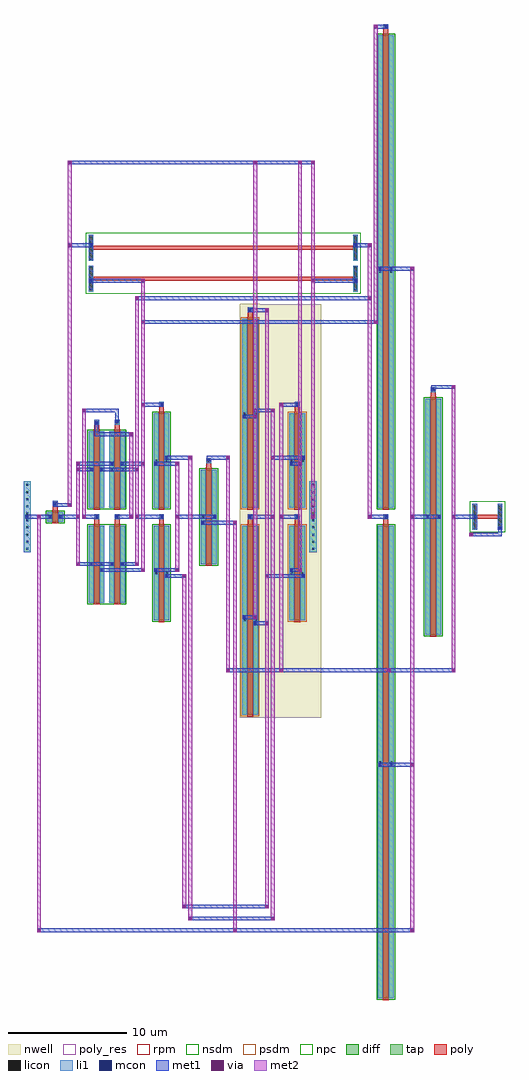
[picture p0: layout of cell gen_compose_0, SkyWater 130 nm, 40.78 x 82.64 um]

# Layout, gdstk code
import gdstk
lib = gdstk.Library(unit=1e-6, precision=1e-09)
def R(c, l, rs):  # rectangles x0, y0, x1, y1
    for r in rs: c.add(gdstk.rectangle(r[:2], r[2:], *l))
def A(c, l, x, y, w, h, nx, ny, dx, dy):  # array of equal rectangles
    R(c, l, [(x+i*dx, y+j*dy, x+i*dx+w, y+j*dy+h) for i in range(nx) for j in range(ny)])
nwell = (64, 20)
diff = (65, 20)
tap = (65, 44)
poly_res = (66, 13)
poly = (66, 20)
licon = (66, 44)
li1 = (67, 20)
mcon = (67, 44)
met1 = (68, 20)
via = (68, 44)
met2 = (69, 20)
rpm = (86, 20)
nsdm = (93, 44)
psdm = (94, 20)
npc = (95, 20)

mos_array = lib.new_cell('mos_array')
R(mos_array, diff, [(0,0,1.34,0.8)])
R(mos_array, poly, [(0.42,-0.15,0.92,0.8), (0.42,0.8,0.92,0.95), (0.42,0.8,0.92,0.95), (0.46,0.95,0.88,1.77)])
R(mos_array, licon, [(0.125,0.315,0.295,0.485), (1.045,0.315,1.215,0.485), (0.585,1.475,0.755,1.645)])
R(mos_array, li1, [(0,0,0.42,0.8), (0.92,0,1.34,0.8), (0.46,1.35,0.88,1.77)])
R(mos_array, nsdm, [(-0.125,-0.125,1.465,0.925)])
R(mos_array, npc, [(0.49,1.38,0.85,1.74)])

ptail__ptail = lib.new_cell('ptail__PTAIL')
ptail__ptail.add(gdstk.Reference(mos_array, (0,0)))

diff_pair = lib.new_cell('diff_pair')
R(diff_pair, diff, [(0,0,1.34,6.5), (1.74,0,3.08,6.5), (0,8.02,1.34,14.52), (1.74,8.02,3.08,14.52)])
R(diff_pair, poly, [(0.42,-0.15,0.92,6.5), (2.16,-0.15,2.66,6.5), (0.42,6.5,0.92,6.65), (0.42,6.5,0.92,6.65), (2.16,6.5,2.66,6.65), (2.16,6.5,2.66,6.65), (0.46,6.65,0.88,7.47), (2.2,6.65,2.62,7.47), (0.42,7.87,0.92,14.52), (2.16,7.87,2.66,14.52), (0.42,14.52,0.92,14.67), (0.42,14.52,0.92,14.67), (2.16,14.52,2.66,14.67), (2.16,14.52,2.66,14.67), (0.46,14.67,0.88,15.49), (2.2,14.67,2.62,15.49)])
R(diff_pair, licon, [(0.125,3.165,0.295,3.335), (1.045,3.165,1.215,3.335), (1.865,3.165,2.035,3.335), (2.785,3.165,2.955,3.335), (0.585,7.175,0.755,7.345), (2.325,7.175,2.495,7.345), (0.125,11.185,0.295,11.355), (1.045,11.185,1.215,11.355), (1.865,11.185,2.035,11.355), (2.785,11.185,2.955,11.355), (0.585,15.195,0.755,15.365), (2.325,15.195,2.495,15.365)])
R(diff_pair, li1, [(0,0,0.42,6.5), (0.92,0,1.34,6.5), (1.74,0,2.16,6.5), (2.66,0,3.08,6.5), (0.46,7.05,0.88,7.47), (2.2,7.05,2.62,7.47), (0,8.02,0.42,14.52), (0.92,8.02,1.34,14.52), (1.74,8.02,2.16,14.52), (2.66,8.02,3.08,14.52), (0.46,15.07,0.88,15.49), (2.2,15.07,2.62,15.49)])
R(diff_pair, nsdm, [(-0.125,-0.125,3.205,6.625), (-0.125,7.895,3.205,14.645)])
R(diff_pair, npc, [(0.49,7.08,0.85,7.44), (2.23,7.08,2.59,7.44), (0.49,15.1,0.85,15.46), (2.23,15.1,2.59,15.46)])

inpair__inpair = lib.new_cell('inpair__INPAIR')
inpair__inpair.add(gdstk.Reference(diff_pair, (0,0)))

res_array = lib.new_cell('res_array')
R(res_array, poly_res, [(0.39,0,22.39,0.35), (0.39,2.6,22.39,2.95)])
R(res_array, poly, [(0,-0.925,0.39,1.275), (22.39,-0.925,22.78,1.275), (0,0,22.78,0.35), (0,1.675,0.39,3.875), (22.39,1.675,22.78,3.875), (0,2.6,22.78,2.95)])
R(res_array, licon, [(0.1,-0.825,0.29,1.175), (22.49,-0.825,22.68,1.175), (0.1,1.775,0.29,3.775), (22.49,1.775,22.68,3.775)])
R(res_array, li1, [(0,-0.925,0.39,1.275), (22.39,-0.925,22.78,1.275), (0,1.675,0.39,3.875), (22.39,1.675,22.78,3.875)])
R(res_array, rpm, [(-0.25,-1.125,23.03,1.475), (-0.25,1.475,23.03,4.075)])
R(res_array, psdm, [(-0.25,-1.125,23.03,1.475), (-0.25,1.475,23.03,4.075)])
R(res_array, npc, [(-0.25,-1.125,23.03,1.475), (-0.25,1.475,23.03,4.075)])

rload__rload = lib.new_cell('rload__RLOAD')
rload__rload.add(gdstk.Reference(res_array, (0,0)))

diff_pair_1 = lib.new_cell('diff_pair$1')
R(diff_pair_1, diff, [(0,0,1.34,8), (0,9.52,1.34,17.52)])
R(diff_pair_1, poly, [(0.42,-0.15,0.92,8), (0.42,8,0.92,8.15), (0.42,8,0.92,8.15), (0.46,8.15,0.88,8.97), (0.42,9.37,0.92,17.52), (0.42,17.52,0.92,17.67), (0.42,17.52,0.92,17.67), (0.46,17.67,0.88,18.49)])
R(diff_pair_1, licon, [(0.125,3.915,0.295,4.085), (1.045,3.915,1.215,4.085), (0.585,8.675,0.755,8.845), (0.125,13.435,0.295,13.605), (1.045,13.435,1.215,13.605), (0.585,18.195,0.755,18.365)])
R(diff_pair_1, li1, [(0,0,0.42,8), (0.92,0,1.34,8), (0.46,8.55,0.88,8.97), (0,9.52,0.42,17.52), (0.92,9.52,1.34,17.52), (0.46,18.07,0.88,18.49)])
R(diff_pair_1, nsdm, [(-0.125,-0.125,1.465,8.125), (-0.125,9.395,1.465,17.645)])
R(diff_pair_1, npc, [(0.49,8.58,0.85,8.94), (0.49,18.1,0.85,18.46)])

stn__stn = lib.new_cell('stn__STN')
stn__stn.add(gdstk.Reference(diff_pair_1, (0,0)))

mos_array_1 = lib.new_cell('mos_array$1')
R(mos_array_1, diff, [(0,0,1.34,8)])
R(mos_array_1, poly, [(0.42,-0.15,0.92,8), (0.42,8,0.92,8.15), (0.42,8,0.92,8.15), (0.46,8.15,0.88,8.97)])
R(mos_array_1, licon, [(0.125,3.915,0.295,4.085), (1.045,3.915,1.215,4.085), (0.585,8.675,0.755,8.845)])
R(mos_array_1, li1, [(0,0,0.42,8), (0.92,0,1.34,8), (0.46,8.55,0.88,8.97)])
R(mos_array_1, nsdm, [(-0.125,-0.125,1.465,8.125)])
R(mos_array_1, npc, [(0.49,8.58,0.85,8.94)])

tail2__tail2 = lib.new_cell('tail2__TAIL2')
tail2__tail2.add(gdstk.Reference(mos_array_1, (0,0)))

diff_pair_2 = lib.new_cell('diff_pair$2')
R(diff_pair_2, nwell, [(-0.15,-0.15,1.49,34.79)])
R(diff_pair_2, diff, [(0,0,1.34,16), (0,17.52,1.34,33.52)])
R(diff_pair_2, poly, [(0.42,-0.15,0.92,16), (0.42,16,0.92,16.15), (0.42,16,0.92,16.15), (0.46,16.15,0.88,16.97), (0.42,17.37,0.92,33.52), (0.42,33.52,0.92,33.67), (0.42,33.52,0.92,33.67), (0.46,33.67,0.88,34.49)])
R(diff_pair_2, licon, [(0.125,7.915,0.295,8.085), (1.045,7.915,1.215,8.085), (0.585,16.675,0.755,16.845), (0.125,25.435,0.295,25.605), (1.045,25.435,1.215,25.605), (0.585,34.195,0.755,34.365)])
R(diff_pair_2, li1, [(0,0,0.42,16), (0.92,0,1.34,16), (0.46,16.55,0.88,16.97), (0,17.52,0.42,33.52), (0.92,17.52,1.34,33.52), (0.46,34.07,0.88,34.49)])
R(diff_pair_2, psdm, [(-0.125,-0.125,1.465,16.125), (-0.125,17.395,1.465,33.645)])
R(diff_pair_2, npc, [(0.49,16.58,0.85,16.94), (0.49,34.1,0.85,34.46)])

latp__latp = lib.new_cell('latp__LATP')
latp__latp.add(gdstk.Reference(diff_pair_2, (0,0)))

diff_pair_3 = lib.new_cell('diff_pair$3')
R(diff_pair_3, nwell, [(-0.15,-0.15,1.49,18.79)])
R(diff_pair_3, diff, [(0,0,1.34,8), (0,9.52,1.34,17.52)])
R(diff_pair_3, poly, [(0.42,-0.15,0.92,8), (0.42,8,0.92,8.15), (0.42,8,0.92,8.15), (0.46,8.15,0.88,8.97), (0.42,9.37,0.92,17.52), (0.42,17.52,0.92,17.67), (0.42,17.52,0.92,17.67), (0.46,17.67,0.88,18.49)])
R(diff_pair_3, licon, [(0.125,3.915,0.295,4.085), (1.045,3.915,1.215,4.085), (0.585,8.675,0.755,8.845), (0.125,13.435,0.295,13.605), (1.045,13.435,1.215,13.605), (0.585,18.195,0.755,18.365)])
R(diff_pair_3, li1, [(0,0,0.42,8), (0.92,0,1.34,8), (0.46,8.55,0.88,8.97), (0,9.52,0.42,17.52), (0.92,9.52,1.34,17.52), (0.46,18.07,0.88,18.49)])
R(diff_pair_3, psdm, [(-0.125,-0.125,1.465,8.125), (-0.125,9.395,1.465,17.645)])
R(diff_pair_3, npc, [(0.49,8.58,0.85,8.94), (0.49,18.1,0.85,18.46)])

rst__rst = lib.new_cell('rst__RST')
rst__rst.add(gdstk.Reference(diff_pair_3, (0,0)))

diff_pair_4 = lib.new_cell('diff_pair$4')
R(diff_pair_4, diff, [(0,0,1.34,40), (0,41.52,1.34,81.52)])
R(diff_pair_4, poly, [(0.42,-0.15,0.92,40), (0.42,40,0.92,40.15), (0.42,40,0.92,40.15), (0.46,40.15,0.88,40.97), (0.42,41.37,0.92,81.52), (0.42,81.52,0.92,81.67), (0.42,81.52,0.92,81.67), (0.46,81.67,0.88,82.49)])
R(diff_pair_4, licon, [(0.125,19.915,0.295,20.085), (1.045,19.915,1.215,20.085), (0.585,40.675,0.755,40.845), (0.125,61.435,0.295,61.605), (1.045,61.435,1.215,61.605), (0.585,82.195,0.755,82.365)])
R(diff_pair_4, li1, [(0,0,0.42,40), (0.92,0,1.34,40), (0.46,40.55,0.88,40.97), (0,41.52,0.42,81.52), (0.92,41.52,1.34,81.52), (0.46,82.07,0.88,82.49)])
R(diff_pair_4, nsdm, [(-0.125,-0.125,1.465,40.125), (-0.125,41.395,1.465,81.645)])
R(diff_pair_4, npc, [(0.49,40.58,0.85,40.94), (0.49,82.1,0.85,82.46)])

absorb__absorb = lib.new_cell('absorb__ABSORB')
absorb__absorb.add(gdstk.Reference(diff_pair_4, (0,0)))

mos_array_2 = lib.new_cell('mos_array$2')
R(mos_array_2, diff, [(0,0,1.34,20)])
R(mos_array_2, poly, [(0.42,-0.15,0.92,20), (0.42,20,0.92,20.15), (0.42,20,0.92,20.15), (0.46,20.15,0.88,20.97)])
R(mos_array_2, licon, [(0.125,9.915,0.295,10.085), (1.045,9.915,1.215,10.085), (0.585,20.675,0.755,20.845)])
R(mos_array_2, li1, [(0,0,0.42,20), (0.92,0,1.34,20), (0.46,20.55,0.88,20.97)])
R(mos_array_2, nsdm, [(-0.125,-0.125,1.465,20.125)])
R(mos_array_2, npc, [(0.49,20.58,0.85,20.94)])

clkcap__clkcap = lib.new_cell('clkcap__CLKCAP')
clkcap__clkcap.add(gdstk.Reference(mos_array_2, (0,0)))

res_array_1 = lib.new_cell('res_array$1')
R(res_array_1, poly_res, [(0.39,0,2.14,0.35)])
R(res_array_1, poly, [(0,-0.925,0.39,1.275), (2.14,-0.925,2.53,1.275), (0,0,2.53,0.35)])
R(res_array_1, licon, [(0.1,-0.825,0.29,1.175), (2.24,-0.825,2.43,1.175)])
R(res_array_1, li1, [(0,-0.925,0.39,1.275), (2.14,-0.925,2.53,1.275)])
R(res_array_1, rpm, [(-0.25,-1.125,2.78,1.475)])
R(res_array_1, psdm, [(-0.25,-1.125,2.78,1.475)])
R(res_array_1, npc, [(-0.25,-1.125,2.78,1.475)])

rclks__rclks = lib.new_cell('rclks__RCLKS')
rclks__rclks.add(gdstk.Reference(res_array_1, (0,0)))

route__route = lib.new_cell('route__ROUTE')
R(route__route, nwell, [(18.3,28,25.2,63)])
R(route__route, tap, [(0,42,0.6,48), (24.2,42,24.8,48)])
A(route__route, licon, 0.215, 42.215, 0.17, 0.17, 1, 10, 0, 0.6)
A(route__route, licon, 24.415, 42.215, 0.17, 0.17, 1, 10, 0, 0.6)
R(route__route, li1, [(0,42,0.6,48), (24.2,42,24.8,48)])
R(route__route, mcon, [(30.125,23.915,30.295,24.085), (31.045,23.915,31.215,24.085), (19.545,35.915,19.715,36.085), (18.625,36.415,18.795,36.585), (12.045,39.915,12.215,40.085), (23.545,39.915,23.715,40.085), (6.545,40.415,6.715,40.585), (11.125,40.415,11.295,40.585), (22.625,40.415,22.795,40.585), (5.625,40.915,5.795,41.085), (7.365,40.915,7.535,41.085), (8.285,40.915,8.455,41.085), (40.25,43.935,40.42,44.105), (15.125,44.415,15.295,44.585), (0.215,44.915,0.385,45.085), (2.125,44.915,2.295,45.085), (3.045,44.915,3.215,45.085), (6.085,44.915,6.255,45.085), (7.825,44.915,7.995,45.085), (11.585,44.915,11.755,45.085), (16.045,44.915,16.215,45.085), (19.085,44.915,19.255,45.085), (23.085,44.915,23.255,45.085), (24.415,44.915,24.585,45.085), (30.585,44.915,30.755,45.085), (34.125,44.915,34.295,45.085), (35.045,44.915,35.215,45.085), (38.11,44.915,38.28,45.085), (2.585,45.985,2.755,46.155), (5.625,48.915,5.795,49.085), (6.545,48.915,6.715,49.085), (7.365,49.415,7.535,49.585), (8.285,49.415,8.455,49.585), (11.125,49.415,11.295,49.585), (22.625,49.415,22.795,49.585), (15.585,49.765,15.755,49.935), (12.045,49.915,12.215,50.085), (23.545,49.915,23.715,50.085), (6.085,52.845,6.255,53.015), (7.825,53.025,7.995,53.195), (18.625,53.415,18.795,53.585), (19.545,53.915,19.715,54.085), (11.585,54.415,11.755,54.585), (23.085,54.415,23.255,54.585), (34.585,55.765,34.755,55.935), (19.085,62.415,19.255,62.585), (5.61,64.915,5.78,65.085), (28,64.915,28.17,65.085), (30.125,65.915,30.295,66.085), (31.045,65.915,31.215,66.085), (5.61,67.915,5.78,68.085), (28,67.915,28.17,68.085), (30.585,86.415,30.755,86.585)])
R(route__route, met1, [(1.14,9.84,18.06,10.16), (17.74,9.84,33.06,10.16), (13.94,10.84,21.26,11.16), (13.44,11.84,20.76,12.16), (30.05,23.84,30.37,24.16), (30.05,23.84,33.06,24.16), (30.97,23.84,31.29,24.16), (30.97,23.84,33.06,24.16), (17.14,31.84,21.96,32.16), (21.64,31.84,31.06,32.16), (30.74,31.84,36.56,32.16), (19.47,35.84,20.76,36.16), (19.47,35.84,19.79,36.16), (18.55,36.34,18.87,36.66), (18.55,36.34,19.76,36.66), (11.97,39.84,13.76,40.16), (11.97,39.84,12.29,40.16), (20.44,39.84,23.79,40.16), (23.47,39.84,23.79,40.16), (6.47,40.34,6.79,40.66), (6.47,40.34,10.26,40.66), (11.05,40.34,11.37,40.66), (11.05,40.34,13.16,40.66), (22.55,40.34,22.87,40.66), (22.55,40.34,23.56,40.66), (4.44,40.84,5.87,41.16), (4.44,40.84,7.61,41.16), (5.55,40.84,5.87,41.16), (7.29,40.84,7.61,41.16), (8.21,40.84,8.53,41.16), (8.21,40.84,9.76,41.16), (37.74,43.34,40.495,43.66), (40.175,43.34,40.495,44.18), (40.175,43.86,40.495,44.18), (15.05,44.34,15.37,44.66), (15.05,44.34,18.06,44.66), (0.14,44.84,0.46,45.16), (0.14,44.84,1.46,45.16), (1.14,44.84,2.37,45.16), (2.05,44.84,2.37,45.16), (2.97,44.84,4.76,45.16), (2.97,44.84,3.29,45.16), (4.94,44.84,6.33,45.16), (6.01,44.84,6.33,45.16), (7.75,44.84,8.07,45.16), (7.75,44.84,9.26,45.16), (9.44,44.84,11.83,45.16), (11.51,44.84,11.83,45.16), (12.84,44.84,16.29,45.16), (15.97,44.84,16.29,45.16), (19.01,44.84,21.26,45.16), (19.01,44.84,19.33,45.16), (21.64,44.84,23.33,45.16), (23.01,44.84,23.33,45.16), (24.34,44.84,24.66,45.16), (24.34,44.84,24.66,45.16), (29.14,44.84,30.83,45.16), (30.51,44.84,30.83,45.16), (32.74,44.84,34.37,45.16), (32.74,44.84,35.29,45.16), (34.05,44.84,34.37,45.16), (34.97,44.84,35.29,45.16), (36.24,44.84,38.355,45.16), (38.035,44.84,38.355,45.16), (2.51,45.84,4.06,46.16), (2.51,45.84,2.83,46.23), (2.51,45.91,2.83,46.23), (4.44,48.84,5.87,49.16), (5.55,48.84,5.87,49.16), (6.47,48.84,6.79,49.16), (6.47,48.84,9.76,49.16), (4.44,49.34,7.61,49.66), (7.29,49.34,7.61,49.66), (8.21,49.34,8.53,49.66), (8.21,49.34,10.26,49.66), (11.05,49.34,11.37,49.66), (11.05,49.34,13.16,49.66), (22.55,49.34,22.87,49.66), (22.55,49.34,23.56,49.66), (15.51,49.69,15.83,50.01), (15.51,49.69,15.83,50.16), (11.97,49.84,12.29,50.16), (11.97,49.84,14.26,50.16), (15.51,49.84,17.46,50.16), (20.94,49.84,23.79,50.16), (23.47,49.84,23.79,50.16), (6.01,51.84,6.33,53.09), (6.01,51.84,9.26,52.16), (6.01,52.77,6.33,53.09), (7.75,52.95,8.07,53.27), (7.75,52.95,8.07,54.16), (18.55,53.34,18.87,53.66), (18.55,53.34,19.76,53.66), (4.94,53.84,8.07,54.16), (19.47,53.84,21.26,54.16), (19.47,53.84,19.79,54.16), (9.94,54.34,11.83,54.66), (11.51,54.34,11.83,54.66), (21.64,54.34,23.33,54.66), (23.01,54.34,23.33,54.66), (34.51,55.69,34.83,56.01), (34.51,55.69,34.83,56.16), (34.51,55.84,36.56,56.16), (9.94,61.34,29.96,61.66), (19.01,62.34,20.76,62.66), (19.01,62.34,19.33,62.66), (9.44,63.34,29.46,63.66), (5.535,64.84,5.855,65.16), (5.535,64.84,10.26,65.16), (24.34,64.84,28.245,65.16), (27.925,64.84,28.245,65.16), (30.05,65.84,30.37,66.16), (30.05,65.84,33.06,66.16), (30.97,65.84,31.29,66.16), (30.97,65.84,33.06,66.16), (3.74,67.84,5.855,68.16), (5.535,67.84,5.855,68.16), (27.925,67.84,28.245,68.16), (27.925,67.84,29.46,68.16), (3.74,74.84,19.76,75.16), (19.44,74.84,23.56,75.16), (23.24,74.84,24.66,75.16), (29.64,86.34,30.83,86.66), (30.51,86.34,30.83,86.66)])
A(route__route, via, 12.925, 40.425, 0.15, 0.15, 1, 3, 0, 4.5)
A(route__route, via, 4.525, 40.925, 0.15, 0.15, 1, 3, 0, 4)
A(route__route, via, 9.525, 40.925, 0.15, 0.15, 1, 3, 0, 4)
R(route__route, via, [(1.225,9.925,1.375,10.075), (17.825,9.925,17.975,10.075), (17.825,9.925,17.975,10.075), (32.825,9.925,32.975,10.075), (14.025,10.925,14.175,11.075), (21.025,10.925,21.175,11.075), (13.525,11.925,13.675,12.075), (20.525,11.925,20.675,12.075), (32.825,23.925,32.975,24.075), (32.825,23.925,32.975,24.075), (17.225,31.925,17.375,32.075), (21.725,31.925,21.875,32.075), (21.725,31.925,21.875,32.075), (30.825,31.925,30.975,32.075), (30.825,31.925,30.975,32.075), (36.325,31.925,36.475,32.075), (20.525,35.925,20.675,36.075), (19.525,36.425,19.675,36.575), (13.525,39.925,13.675,40.075), (20.525,39.925,20.675,40.075), (10.025,40.425,10.175,40.575), (23.325,40.425,23.475,40.575), (4.525,40.925,4.675,41.075), (37.825,43.425,37.975,43.575), (17.825,44.425,17.975,44.575), (1.225,44.925,1.375,45.075), (1.225,44.925,1.375,45.075), (5.025,44.925,5.175,45.075), (9.025,44.925,9.175,45.075), (21.025,44.925,21.175,45.075), (21.725,44.925,21.875,45.075), (24.425,44.925,24.575,45.075), (29.225,44.925,29.375,45.075), (32.825,44.925,32.975,45.075), (32.825,44.925,32.975,45.075), (36.325,44.925,36.475,45.075), (3.825,45.925,3.975,46.075), (4.525,49.425,4.675,49.575), (10.025,49.425,10.175,49.575), (23.325,49.425,23.475,49.575), (14.025,49.925,14.175,50.075), (17.225,49.925,17.375,50.075), (21.025,49.925,21.175,50.075), (9.025,51.925,9.175,52.075), (19.525,53.425,19.675,53.575), (5.025,53.925,5.175,54.075), (21.025,53.925,21.175,54.075), (10.025,54.425,10.175,54.575), (21.725,54.425,21.875,54.575), (36.325,55.925,36.475,56.075), (10.025,61.425,10.175,61.575), (29.725,61.425,29.875,61.575), (20.525,62.425,20.675,62.575), (9.525,63.425,9.675,63.575), (29.225,63.425,29.375,63.575), (10.025,64.925,10.175,65.075), (24.425,64.925,24.575,65.075), (32.825,65.925,32.975,66.075), (32.825,65.925,32.975,66.075), (3.825,67.925,3.975,68.075), (29.225,67.925,29.375,68.075), (3.825,74.925,3.975,75.075), (19.525,74.925,19.675,75.075), (19.525,74.925,19.675,75.075), (23.325,74.925,23.475,75.075), (23.325,74.925,23.475,75.075), (24.425,74.925,24.575,75.075), (29.725,86.425,29.875,86.575)])
R(route__route, met2, [(1.14,9.84,1.46,45.16), (17.74,9.84,18.06,44.66), (32.74,9.84,33.06,66.16), (13.94,10.84,14.26,50.16), (20.94,10.84,21.26,54.16), (13.44,11.84,13.76,40.16), (20.44,11.84,20.76,62.66), (17.14,31.84,17.46,50.16), (21.64,31.84,21.96,54.66), (30.74,31.84,31.06,32.16), (36.24,31.84,36.56,56.16), (19.44,36.34,19.76,75.16), (9.94,40.34,10.26,65.16), (12.84,40.34,13.16,49.66), (23.24,40.34,23.56,75.16), (4.44,40.84,4.76,49.66), (9.44,40.84,9.76,63.66), (37.74,43.34,38.06,43.66), (4.94,44.84,5.26,54.16), (8.94,44.84,9.26,52.16), (24.34,44.84,24.66,75.16), (29.14,44.84,29.46,68.16), (3.74,45.84,4.06,75.16), (29.64,61.34,29.96,86.66)])
route__route.add(gdstk.Label('VINN', (5.1,45), layer=68, texttype=5))
route__route.add(gdstk.Label('VINP', (9.1,45), layer=68, texttype=5))
route__route.add(gdstk.Label('OUTP', (13.6,40), layer=68, texttype=5))
route__route.add(gdstk.Label('OUTN', (14.1,50), layer=68, texttype=5))
route__route.add(gdstk.Label('GND', (1.3,45), layer=68, texttype=5))
route__route.add(gdstk.Label('VDD', (3.9,46), layer=68, texttype=5))
route__route.add(gdstk.Label('CLK', (37.9,43.5), layer=68, texttype=5))

gen_compose_0 = lib.new_cell('gen_compose_0')
gen_compose_0.add(gdstk.Reference(ptail__ptail, (2,44.6)))
gen_compose_0.add(gdstk.Reference(inpair__inpair, (5.5,37.74)))
gen_compose_0.add(gdstk.Reference(rload__rload, (5.5,65)))
gen_compose_0.add(gdstk.Reference(stn__stn, (11,36.24)))
gen_compose_0.add(gdstk.Reference(tail2__tail2, (15,41)))
gen_compose_0.add(gdstk.Reference(latp__latp, (18.5,28.24)))
gen_compose_0.add(gdstk.Reference(rst__rst, (22.5,36.24)))
gen_compose_0.add(gdstk.Reference(absorb__absorb, (30,4.24)))
gen_compose_0.add(gdstk.Reference(clkcap__clkcap, (34,35)))
gen_compose_0.add(gdstk.Reference(rclks__rclks, (38,44.825)))
gen_compose_0.add(gdstk.Reference(route__route, (0,0)))

lib.write_gds('gen_compose_0.gds')
